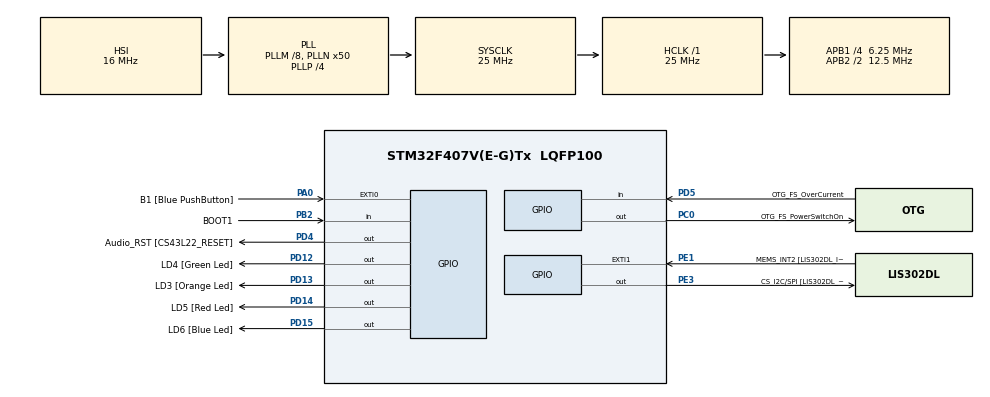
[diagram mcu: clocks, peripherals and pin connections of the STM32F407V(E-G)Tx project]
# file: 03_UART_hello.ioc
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Mcu.Family=STM32F4
Mcu.Name=STM32F407V(E-G)Tx
Mcu.Package=LQFP100
NVIC.PriorityGroup=NVIC_PRIORITYGROUP_0
PA0-WKUP.GPIO_Label=B1 [Blue PushButton]
PA0-WKUP.Signal=GPXTI0
PA10.GPIO_Label=OTG_FS_ID
PA10.GPIO_Mode=GPIO_MODE_AF_PP
PA10.GPIO_PuPd=GPIO_NOPULL
PA10.GPIO_Speed=GPIO_SPEED_FREQ_LOW
PA10.Signal=USB_OTG_FS_ID
PA11.GPIO_Label=OTG_FS_DM
PA11.GPIO_Mode=GPIO_MODE_AF_PP
PA11.GPIO_PuPd=GPIO_NOPULL
PA11.GPIO_Speed=GPIO_SPEED_FREQ_LOW
PA11.Signal=USB_OTG_FS_DM
PA12.GPIO_Label=OTG_FS_DP
PA12.GPIO_Mode=GPIO_MODE_AF_PP
PA12.GPIO_PuPd=GPIO_NOPULL
PA12.GPIO_Speed=GPIO_SPEED_FREQ_LOW
PA12.Signal=USB_OTG_FS_DP
PA13.GPIO_Label=SWDIO
PA13.Signal=SYS_JTMS-SWDIO
PA14.GPIO_Label=SWCLK
PA14.Signal=SYS_JTCK-SWCLK
PA4.GPIO_Label=I2S3_WS [CS43L22_LRCK]
PA4.GPIO_Mode=GPIO_MODE_AF_PP
PA4.GPIO_PuPd=GPIO_NOPULL
PA4.GPIO_Speed=GPIO_SPEED_FREQ_LOW
PA4.Signal=I2S3_WS
PA5.GPIO_Label=SPI1_SCK [LIS302DL_SCL/SPC]
PA5.GPIO_Mode=GPIO_MODE_AF_PP
PA5.GPIO_PuPd=GPIO_NOPULL
PA5.GPIO_Speed=GPIO_SPEED_FREQ_LOW
PA5.Signal=SPI1_SCK
PA6.GPIO_Label=SPI1_MISO [LIS302DL_SDO]
PA6.GPIO_Mode=GPIO_MODE_AF_PP
PA6.GPIO_PuPd=GPIO_NOPULL
PA6.GPIO_Speed=GPIO_SPEED_FREQ_LOW
PA6.Signal=SPI1_MISO
PA7.GPIO_Label=SPI1_MOSI [LIS302DL_SDA/SDI/SDO]
PA7.GPIO_Mode=GPIO_MODE_AF_PP
PA7.GPIO_PuPd=GPIO_NOPULL
PA7.GPIO_Speed=GPIO_SPEED_FREQ_LOW
PA7.Signal=SPI1_MOSI
PA9.GPIO_Label=VBUS_FS
PA9.GPIO_Mode=GPIO_MODE_INPUT
PA9.GPIO_PuPd=GPIO_NOPULL
PA9.Signal=USB_OTG_FS_VBUS
PB10.GPIO_Label=CLK_IN [MP45DT02_CLK]
PB10.GPIO_Mode=GPIO_MODE_AF_PP
PB10.GPIO_PuPd=GPIO_NOPULL
PB10.GPIO_Speed=GPIO_SPEED_FREQ_LOW
PB10.Signal=I2S2_CK
PB2.GPIO_Label=BOOT1
PB2.GPIO_Mode=GPIO_MODE_INPUT
PB2.GPIO_PuPd=GPIO_NOPULL
PB2.Signal=GPIO_Input
PB3.GPIO_Label=SWO
PB3.Signal=SYS_JTDO-SWO
PB6.GPIO_Label=Audio_SCL [CS43L22_SCL]
PB6.GPIO_Mode=GPIO_MODE_AF_OD
PB6.GPIO_PuPd=GPIO_NOPULL
PB6.GPIO_Speed=GPIO_SPEED_FREQ_LOW
PB6.Signal=I2C1_SCL
PB9.GPIO_Label=Audio_SDA [CS43L22_SDA]
PB9.GPIO_Mode=GPIO_MODE_AF_OD
PB9.GPIO_PuPd=GPIO_NOPULL
PB9.GPIO_Speed=GPIO_SPEED_FREQ_LOW
PB9.Signal=I2C1_SDA
PC0.GPIO_Label=OTG_FS_PowerSwitchOn
PC0.GPIO_PuPd=GPIO_NOPULL
PC0.GPIO_Speed=GPIO_SPEED_FREQ_LOW
PC0.PinState=GPIO_PIN_SET
PC0.Signal=GPIO_Output
PC10.GPIO_Label=I2S3_SCK [CS43L22_SCLK]
PC10.GPIO_Mode=GPIO_MODE_AF_PP
PC10.GPIO_PuPd=GPIO_NOPULL
PC10.GPIO_Speed=GPIO_SPEED_FREQ_LOW
PC10.Signal=I2S3_CK
PC12.GPIO_Label=I2S3_SD [CS43L22_SDIN]
PC12.GPIO_Mode=GPIO_MODE_AF_PP
PC12.GPIO_PuPd=GPIO_NOPULL
PC12.GPIO_Speed=GPIO_SPEED_FREQ_LOW
PC12.Signal=I2S3_SD
PC14-OSC32_IN.GPIO_Label=PC14-OSC32_IN
PC14-OSC32_IN.Signal=RCC_OSC32_IN
PC15-OSC32_OUT.GPIO_Label=PC15-OSC32_OUT
PC15-OSC32_OUT.Signal=RCC_OSC32_OUT
PC3.GPIO_Label=PDM_OUT [MP45DT02_DOUT]
PC3.GPIO_Mode=GPIO_MODE_AF_PP
PC3.GPIO_PuPd=GPIO_NOPULL
PC3.GPIO_Speed=GPIO_SPEED_FREQ_LOW
PC3.Signal=I2S2_SD
PC7.GPIO_Label=I2S3_MCK [CS43L22_MCLK]
PC7.GPIO_Mode=GPIO_MODE_AF_PP
PC7.GPIO_PuPd=GPIO_NOPULL
PC7.GPIO_Speed=GPIO_SPEED_FREQ_LOW
PC7.Signal=I2S3_MCK
PD12.GPIO_Label=LD4 [Green Led]
PD12.GPIO_PuPd=GPIO_NOPULL
PD12.GPIO_Speed=GPIO_SPEED_FREQ_LOW
PD12.Signal=GPIO_Output
PD13.GPIO_Label=LD3 [Orange Led]
PD13.GPIO_PuPd=GPIO_NOPULL
PD13.GPIO_Speed=GPIO_SPEED_FREQ_LOW
PD13.Signal=GPIO_Output
PD14.GPIO_Label=LD5 [Red Led]
PD14.GPIO_PuPd=GPIO_NOPULL
PD14.GPIO_Speed=GPIO_SPEED_FREQ_LOW
PD14.Signal=GPIO_Output
PD15.GPIO_Label=LD6 [Blue Led]
PD15.GPIO_PuPd=GPIO_NOPULL
PD15.GPIO_Speed=GPIO_SPEED_FREQ_LOW
PD15.Signal=GPIO_Output
PD4.GPIO_Label=Audio_RST [CS43L22_RESET]
PD4.GPIO_PuPd=GPIO_NOPULL
PD4.GPIO_Speed=GPIO_SPEED_FREQ_LOW
PD4.Signal=GPIO_Output
PD5.GPIO_Label=OTG_FS_OverCurrent
PD5.GPIO_Mode=GPIO_MODE_INPUT
PD5.GPIO_PuPd=GPIO_NOPULL
PD5.Signal=GPIO_Input
PE1.GPIO_Label=MEMS_INT2 [LIS302DL_INT2]
PE1.GPIO_ModeDefaultEXTI=GPIO_MODE_EVT_RISING
PE1.GPIO_PuPd=GPIO_NOPULL
PE1.Signal=GPXTI1
PE3.GPIO_Label=CS_I2C/SPI [LIS302DL_CS_I2C/SPI]
PE3.GPIO_PuPd=GPIO_NOPULL
PE3.GPIO_Speed=GPIO_SPEED_FREQ_LOW
PE3.Signal=GPIO_Output
PH0-OSC_IN.GPIO_Label=PH0-OSC_IN
PH0-OSC_IN.Mode=HSE-External-Oscillator
PH0-OSC_IN.Signal=RCC_OSC_IN
PH1-OSC_OUT.GPIO_Label=PH1-OSC_OUT
PH1-OSC_OUT.Mode=HSE-External-Oscillator
PH1-OSC_OUT.Signal=RCC_OSC_OUT
ProjectManager.HeapSize=0x200
ProjectManager.StackSize=0x400
ProjectManager.TargetToolchain=STM32CubeIDE
RCC.48MHZClocksFreq_Value=14285714.285714285
RCC.AHBFreq_Value=25000000
RCC.APB1CLKDivider=RCC_HCLK_DIV4
RCC.APB1Freq_Value=6250000
RCC.APB1TimFreq_Value=12500000
RCC.APB2CLKDivider=RCC_HCLK_DIV2
RCC.APB2Freq_Value=12500000
RCC.APB2TimFreq_Value=25000000
RCC.CortexFreq_Value=25000000
RCC.HCLKFreq_Value=25000000
RCC.HSE_VALUE=8000000
RCC.HSI_VALUE=16000000
RCC.LSE_VALUE=32768
RCC.PLLM=8
RCC.PLLN=50
RCC.PLLP=RCC_PLLP_DIV4
RCC.PLLQ=7
RCC.SYSCLKFreq_VALUE=25000000
RCC.SYSCLKSource=RCC_SYSCLKSOURCE_PLLCLK
RCC.VCOOutputFreq_Value=100000000
board=STM32F407G-DISC1

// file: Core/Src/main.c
/* USER CODE BEGIN Header */
/**
  ******************************************************************************
  * @file           : main.c
  * @brief          : Main program body
  ******************************************************************************
  * @attention
  *
  * Copyright (c) 2026 STMicroelectronics.
  * All rights reserved.
  *
  * This software is licensed under terms that can be found in the LICENSE file
  * in the root directory of this software component.
  * If no LICENSE file comes with this software, it is provided AS-IS.
  *
  ******************************************************************************
  */
/* USER CODE END Header */
#include "main.h"

void SystemClock_Config(void);
static void MX_GPIO_Init(void);
/* USER CODE BEGIN PFP */
void UART_SendChar(char c);
void UART_SendString(char *str);
/* USER CODE END PFP */

int main(void)
{

  /* MCU Configuration--------------------------------------------------------*/

  /* Reset of all peripherals, Initializes the Flash interface and the Systick. */
  HAL_Init();

  /* Configure the system clock */
  SystemClock_Config();

  /* Initialize all configured peripherals */
  MX_GPIO_Init();
  /* USER CODE BEGIN 2 */
  RCC->AHB1ENR |= (1U << 0);
  RCC->AHB1ENR |= (1U << 17);

  GPIOA->MODER &= ~(3U << (2*2));
  GPIOA->MODER |= (2U << (2*2));
  GPIOA->MODER &= ~(3U << (3*2));
  GPIOA->MODER |= (2U << (3*2));

  GPIOA->AFR[0] &= ~(0xFU << (2*4));
  GPIOA->AFR[0] |= (7U << (2*4));
  GPIOA->AFR[0] &= ~(0xFU << (3*4));
  GPIOA->AFR[0] |= (7U << (3*4));

  USART2->BRR = 0x8B;

  USART2->CR1 |= (1U << 3);
  USART2->CR1 |= (1U << 2);
  USART2->CR1 |= (1U << 13);
  /* USER CODE END 2 */

  /* Infinite loop */
  while (1)
  {
	  UART_SendString("Hello from STM32!\r\n");

	  for (volatile uint32_t i=0; i < 2000000U; i++);

  }
}

void SystemClock_Config(void)
{
  RCC_OscInitTypeDef RCC_OscInitStruct = {0};
  RCC_ClkInitTypeDef RCC_ClkInitStruct = {0};

  /** Configure the main internal regulator output voltage
  */
  __HAL_RCC_PWR_CLK_ENABLE();
  __HAL_PWR_VOLTAGESCALING_CONFIG(PWR_REGULATOR_VOLTAGE_SCALE1);

  /** Initializes the RCC Oscillators according to the specified parameters
  * in the RCC_OscInitTypeDef structure.
  */
  RCC_OscInitStruct.OscillatorType = RCC_OSCILLATORTYPE_HSI;
  RCC_OscInitStruct.HSIState = RCC_HSI_ON;
  RCC_OscInitStruct.HSICalibrationValue = RCC_HSICALIBRATION_DEFAULT;
  RCC_OscInitStruct.PLL.PLLState = RCC_PLL_ON;
  RCC_OscInitStruct.PLL.PLLSource = RCC_PLLSOURCE_HSI;
  RCC_OscInitStruct.PLL.PLLM = 8;
  RCC_OscInitStruct.PLL.PLLN = 50;
  RCC_OscInitStruct.PLL.PLLP = RCC_PLLP_DIV4;
  RCC_OscInitStruct.PLL.PLLQ = 7;
  if (HAL_RCC_OscConfig(&RCC_OscInitStruct) != HAL_OK)
  {
    Error_Handler();
  }

  /** Initializes the CPU, AHB and APB buses clocks
  */
  RCC_ClkInitStruct.ClockType = RCC_CLOCKTYPE_HCLK|RCC_CLOCKTYPE_SYSCLK
                              |RCC_CLOCKTYPE_PCLK1|RCC_CLOCKTYPE_PCLK2;
  RCC_ClkInitStruct.SYSCLKSource = RCC_SYSCLKSOURCE_PLLCLK;
  RCC_ClkInitStruct.AHBCLKDivider = RCC_SYSCLK_DIV1;
  RCC_ClkInitStruct.APB1CLKDivider = RCC_HCLK_DIV4;
  RCC_ClkInitStruct.APB2CLKDivider = RCC_HCLK_DIV2;

  if (HAL_RCC_ClockConfig(&RCC_ClkInitStruct, FLASH_LATENCY_0) != HAL_OK)
  {
    Error_Handler();
  }
}

static void MX_GPIO_Init(void)
{
  GPIO_InitTypeDef GPIO_InitStruct = {0};

  /* GPIO Ports Clock Enable */
  __HAL_RCC_GPIOE_CLK_ENABLE();
  __HAL_RCC_GPIOC_CLK_ENABLE();
  __HAL_RCC_GPIOH_CLK_ENABLE();
  __HAL_RCC_GPIOA_CLK_ENABLE();
  __HAL_RCC_GPIOB_CLK_ENABLE();
  __HAL_RCC_GPIOD_CLK_ENABLE();

  /*Configure GPIO pin Output Level */
  HAL_GPIO_WritePin(CS_I2C_SPI_GPIO_Port, CS_I2C_SPI_Pin, GPIO_PIN_RESET);

  /*Configure GPIO pin Output Level */
  HAL_GPIO_WritePin(OTG_FS_PowerSwitchOn_GPIO_Port, OTG_FS_PowerSwitchOn_Pin, GPIO_PIN_SET);

  /*Configure GPIO pin Output Level */
  HAL_GPIO_WritePin(GPIOD, LD4_Pin|LD3_Pin|LD5_Pin|LD6_Pin
                          |Audio_RST_Pin, GPIO_PIN_RESET);

  /*Configure GPIO pin : CS_I2C_SPI_Pin */
  GPIO_InitStruct.Pin = CS_I2C_SPI_Pin;
  GPIO_InitStruct.Mode = GPIO_MODE_OUTPUT_PP;
  GPIO_InitStruct.Pull = GPIO_NOPULL;
  GPIO_InitStruct.Speed = GPIO_SPEED_FREQ_LOW;
  HAL_GPIO_Init(CS_I2C_SPI_GPIO_Port, &GPIO_InitStruct);

  /*Configure GPIO pin : OTG_FS_PowerSwitchOn_Pin */
  GPIO_InitStruct.Pin = OTG_FS_PowerSwitchOn_Pin;
  GPIO_InitStruct.Mode = GPIO_MODE_OUTPUT_PP;
  GPIO_InitStruct.Pull = GPIO_NOPULL;
  GPIO_InitStruct.Speed = GPIO_SPEED_FREQ_LOW;
  HAL_GPIO_Init(OTG_FS_PowerSwitchOn_GPIO_Port, &GPIO_InitStruct);

  /*Configure GPIO pin : PDM_OUT_Pin */
  GPIO_InitStruct.Pin = PDM_OUT_Pin;
  GPIO_InitStruct.Mode = GPIO_MODE_AF_PP;
  GPIO_InitStruct.Pull = GPIO_NOPULL;
  GPIO_InitStruct.Speed = GPIO_SPEED_FREQ_LOW;
  GPIO_InitStruct.Alternate = GPIO_AF5_SPI2;
  HAL_GPIO_Init(PDM_OUT_GPIO_Port, &GPIO_InitStruct);

  /*Configure GPIO pin : B1_Pin */
  GPIO_InitStruct.Pin = B1_Pin;
  GPIO_InitStruct.Mode = GPIO_MODE_IT_RISING;
  GPIO_InitStruct.Pull = GPIO_NOPULL;
  HAL_GPIO_Init(B1_GPIO_Port, &GPIO_InitStruct);

  /*Configure GPIO pin : I2S3_WS_Pin */
  GPIO_InitStruct.Pin = I2S3_WS_Pin;
  GPIO_InitStruct.Mode = GPIO_MODE_AF_PP;
  GPIO_InitStruct.Pull = GPIO_NOPULL;
  GPIO_InitStruct.Speed = GPIO_SPEED_FREQ_LOW;
  GPIO_InitStruct.Alternate = GPIO_AF6_SPI3;
  HAL_GPIO_Init(I2S3_WS_GPIO_Port, &GPIO_InitStruct);

  /*Configure GPIO pins : SPI1_SCK_Pin SPI1_MISO_Pin SPI1_MOSI_Pin */
  GPIO_InitStruct.Pin = SPI1_SCK_Pin|SPI1_MISO_Pin|SPI1_MOSI_Pin;
  GPIO_InitStruct.Mode = GPIO_MODE_AF_PP;
  GPIO_InitStruct.Pull = GPIO_NOPULL;
  GPIO_InitStruct.Speed = GPIO_SPEED_FREQ_LOW;
  GPIO_InitStruct.Alternate = GPIO_AF5_SPI1;
  HAL_GPIO_Init(GPIOA, &GPIO_InitStruct);

  /*Configure GPIO pin : BOOT1_Pin */
  GPIO_InitStruct.Pin = BOOT1_Pin;
  GPIO_InitStruct.Mode = GPIO_MODE_INPUT;
  GPIO_InitStruct.Pull = GPIO_NOPULL;
  HAL_GPIO_Init(BOOT1_GPIO_Port, &GPIO_InitStruct);

  /*Configure GPIO pin : CLK_IN_Pin */
  GPIO_InitStruct.Pin = CLK_IN_Pin;
  GPIO_InitStruct.Mode = GPIO_MODE_AF_PP;
  GPIO_InitStruct.Pull = GPIO_NOPULL;
  GPIO_InitStruct.Speed = GPIO_SPEED_FREQ_LOW;
  GPIO_InitStruct.Alternate = GPIO_AF5_SPI2;
  HAL_GPIO_Init(CLK_IN_GPIO_Port, &GPIO_InitStruct);

  /*Configure GPIO pins : LD4_Pin LD3_Pin LD5_Pin LD6_Pin
                           Audio_RST_Pin */
  GPIO_InitStruct.Pin = LD4_Pin|LD3_Pin|LD5_Pin|LD6_Pin
                          |Audio_RST_Pin;
  GPIO_InitStruct.Mode = GPIO_MODE_OUTPUT_PP;
  GPIO_InitStruct.Pull = GPIO_NOPULL;
  GPIO_InitStruct.Speed = GPIO_SPEED_FREQ_LOW;
  HAL_GPIO_Init(GPIOD, &GPIO_InitStruct);

  /*Configure GPIO pins : I2S3_MCK_Pin I2S3_SCK_Pin I2S3_SD_Pin */
  GPIO_InitStruct.Pin = I2S3_MCK_Pin|I2S3_SCK_Pin|I2S3_SD_Pin;
  GPIO_InitStruct.Mode = GPIO_MODE_AF_PP;
  GPIO_InitStruct.Pull = GPIO_NOPULL;
  GPIO_InitStruct.Speed = GPIO_SPEED_FREQ_LOW;
  GPIO_InitStruct.Alternate = GPIO_AF6_SPI3;
  HAL_GPIO_Init(GPIOC, &GPIO_InitStruct);

  /*Configure GPIO pin : VBUS_FS_Pin */
  GPIO_InitStruct.Pin = VBUS_FS_Pin;
  GPIO_InitStruct.Mode = GPIO_MODE_INPUT;
  GPIO_InitStruct.Pull = GPIO_NOPULL;
  HAL_GPIO_Init(VBUS_FS_GPIO_Port, &GPIO_InitStruct);

  /*Configure GPIO pins : OTG_FS_ID_Pin OTG_FS_DM_Pin OTG_FS_DP_Pin */
  GPIO_InitStruct.Pin = OTG_FS_ID_Pin|OTG_FS_DM_Pin|OTG_FS_DP_Pin;
  GPIO_InitStruct.Mode = GPIO_MODE_AF_PP;
  GPIO_InitStruct.Pull = GPIO_NOPULL;
  GPIO_InitStruct.Speed = GPIO_SPEED_FREQ_LOW;
  GPIO_InitStruct.Alternate = GPIO_AF10_OTG_FS;
  HAL_GPIO_Init(GPIOA, &GPIO_InitStruct);

  /*Configure GPIO pin : OTG_FS_OverCurrent_Pin */
  GPIO_InitStruct.Pin = OTG_FS_OverCurrent_Pin;
  GPIO_InitStruct.Mode = GPIO_MODE_INPUT;
  GPIO_InitStruct.Pull = GPIO_NOPULL;
  HAL_GPIO_Init(OTG_FS_OverCurrent_GPIO_Port, &GPIO_InitStruct);

  /*Configure GPIO pins : Audio_SCL_Pin Audio_SDA_Pin */
  GPIO_InitStruct.Pin = Audio_SCL_Pin|Audio_SDA_Pin;
  GPIO_InitStruct.Mode = GPIO_MODE_AF_OD;
  GPIO_InitStruct.Pull = GPIO_NOPULL;
  GPIO_InitStruct.Speed = GPIO_SPEED_FREQ_LOW;
  GPIO_InitStruct.Alternate = GPIO_AF4_I2C1;
  HAL_GPIO_Init(GPIOB, &GPIO_InitStruct);

  /*Configure GPIO pin : MEMS_INT2_Pin */
  GPIO_InitStruct.Pin = MEMS_INT2_Pin;
  GPIO_InitStruct.Mode = GPIO_MODE_EVT_RISING;
  GPIO_InitStruct.Pull = GPIO_NOPULL;
  HAL_GPIO_Init(MEMS_INT2_GPIO_Port, &GPIO_InitStruct);

}

/* USER CODE BEGIN 4 */
void UART_SendChar(char c)
{
    while (!(USART2->SR & (1U << 7)));
    USART2->DR = c;
}

void UART_SendString(char *str)
{
    while (*str)
    {
        UART_SendChar(*str);
        str++;
    }
}
/* USER CODE END 4 */

void Error_Handler(void)
{
  __disable_irq();
  while (1)
  {
  }
}
